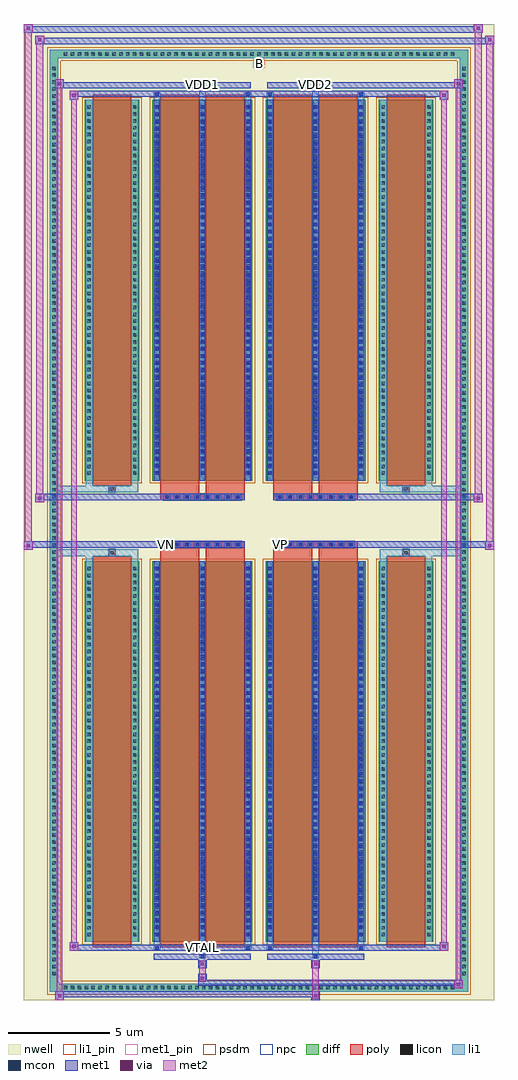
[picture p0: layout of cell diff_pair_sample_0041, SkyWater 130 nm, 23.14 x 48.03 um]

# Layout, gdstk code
import gdstk
lib = gdstk.Library(unit=1e-6, precision=5e-09)
def R(c, l, rs):  # rectangles x0, y0, x1, y1
    for r in rs: c.add(gdstk.rectangle(r[:2], r[2:], *l))
def A(c, l, x, y, w, h, nx, ny, dx, dy):  # array of equal rectangles
    R(c, l, [(x+i*dx, y+j*dy, x+i*dx+w, y+j*dy+h) for i in range(nx) for j in range(ny)])
def P(c, l, *ps):  # polygons
    for p in ps: c.add(gdstk.Polygon(p, *l))
nwell = (64, 20)
diff = (65, 20)
poly = (66, 20)
licon = (66, 44)
li1_pin = (67, 16)
li1 = (67, 20)
mcon = (67, 44)
met1_pin = (68, 16)
met1 = (68, 20)
via = (68, 44)
met2 = (69, 20)
psdm = (94, 20)
npc = (95, 20)

diff_pair_sample_0041 = lib.new_cell('diff_pair_sample_0041')
R(diff_pair_sample_0041, nwell, [(-11.57,-23.58,11.57,24.45), (-8.89,-21.77,-0.01,-0.805), (0.01,-21.77,8.89,-0.805), (-8.89,0.805,-0.01,21.77), (0.01,0.805,8.89,21.77)])
A(diff_pair_sample_0041, diff, -9.725, -23.18, 0.41, 0.41, 57, 2, 0.34, 45.95)
A(diff_pair_sample_0041, diff, -10.3, -22.475, 0.41, 0.41, 1, 132, 0, 0.34)
A(diff_pair_sample_0041, diff, 9.89, -22.475, 0.41, 0.41, 1, 132, 0, 0.34)
R(diff_pair_sample_0041, diff, [(-9.725,-23.18,9.725,-22.77), (-10.3,-22.475,-9.89,22.475), (9.89,-22.475,10.3,22.475), (-8.58,-20.725,-5.89,-1.985), (-5.25,-20.725,-0.32,-1.985), (0.32,-20.725,5.25,-1.985), (5.89,-20.725,8.58,-1.985), (-8.58,1.985,-5.89,20.725), (-5.25,1.985,-0.32,20.725), (0.32,1.985,5.25,20.725), (5.89,1.985,8.58,20.725), (-9.725,22.77,9.725,23.18)])
P(diff_pair_sample_0041, diff, [(10.3,23.18),(-10.3,23.18),(-10.3,-22.77),(-9.89,-22.77),(-9.89,22.77),(9.89,22.77),(9.89,-22.77),(-9.89,-22.77),(-10.3,-22.77),(-10.3,-23.18),(10.3,-23.18)])
A(diff_pair_sample_0041, poly, -4.7, -1.335, 0.33, 0.33, 8, 2, 0.5, 2.34)
A(diff_pair_sample_0041, poly, 0.87, -1.335, 0.33, 0.33, 8, 2, 0.5, 2.34)
R(diff_pair_sample_0041, poly, [(-8.19,-20.975,-6.28,-1.735), (-4.86,-20.975,-2.95,-1.735), (-2.62,-20.975,-0.71,-1.735), (0.71,-20.975,2.62,-1.735), (2.95,-20.975,4.86,-1.735), (6.28,-20.975,8.19,-1.735), (-7.4,-1.735,-7.07,-1.405), (-7.4,-1.735,-7.07,-1.405), (-4.86,-1.735,-2.95,-1.335), (-2.62,-1.735,-0.71,-1.335), (0.71,-1.735,2.62,-1.335), (2.95,-1.735,4.86,-1.335), (7.07,-1.735,7.4,-1.405), (7.07,-1.735,7.4,-1.405), (-4.86,-1.335,-0.71,-1.005), (0.71,-1.335,4.86,-1.005), (-4.86,1.005,-0.71,1.335), (0.71,1.005,4.86,1.335), (-4.86,1.335,-2.95,1.735), (-2.62,1.335,-0.71,1.735), (0.71,1.335,2.62,1.735), (2.95,1.335,4.86,1.735), (-7.4,1.405,-7.07,1.735), (-7.4,1.405,-7.07,1.735), (7.07,1.405,7.4,1.735), (7.07,1.405,7.4,1.735), (-8.19,1.735,-6.28,20.975), (-4.86,1.735,-2.95,20.975), (-2.62,1.735,-0.71,20.975), (0.71,1.735,2.62,20.975), (2.95,1.735,4.86,20.975), (6.28,1.735,8.19,20.975)])
A(diff_pair_sample_0041, licon, -9.605, -23.06, 0.17, 0.17, 57, 2, 0.34, 45.95)
A(diff_pair_sample_0041, licon, -10.18, -22.355, 0.17, 0.17, 1, 132, 0, 0.34)
A(diff_pair_sample_0041, licon, 10.01, -22.355, 0.17, 0.17, 1, 132, 0, 0.34)
A(diff_pair_sample_0041, licon, -8.44, -20.45, 0.17, 0.17, 1, 54, 0, 0.34)
A(diff_pair_sample_0041, licon, -6.2, -20.45, 0.17, 0.17, 1, 54, 0, 0.34)
A(diff_pair_sample_0041, licon, -5.11, -20.45, 0.17, 0.17, 3, 54, 2.24, 0.34)
A(diff_pair_sample_0041, licon, 0.46, -20.45, 0.17, 0.17, 3, 54, 2.24, 0.34)
A(diff_pair_sample_0041, licon, 6.03, -20.45, 0.17, 0.17, 1, 54, 0, 0.34)
A(diff_pair_sample_0041, licon, 8.27, -20.45, 0.17, 0.17, 1, 54, 0, 0.34)
A(diff_pair_sample_0041, licon, -4.62, -1.255, 0.17, 0.17, 8, 2, 0.5, 2.34)
A(diff_pair_sample_0041, licon, 0.95, -1.255, 0.17, 0.17, 8, 2, 0.5, 2.34)
A(diff_pair_sample_0041, licon, -8.44, 2.26, 0.17, 0.17, 1, 54, 0, 0.34)
A(diff_pair_sample_0041, licon, -6.2, 2.26, 0.17, 0.17, 1, 54, 0, 0.34)
A(diff_pair_sample_0041, licon, -5.11, 2.26, 0.17, 0.17, 3, 54, 2.24, 0.34)
A(diff_pair_sample_0041, licon, 0.46, 2.26, 0.17, 0.17, 3, 54, 2.24, 0.34)
A(diff_pair_sample_0041, licon, 6.03, 2.26, 0.17, 0.17, 1, 54, 0, 0.34)
A(diff_pair_sample_0041, licon, 8.27, 2.26, 0.17, 0.17, 1, 54, 0, 0.34)
R(diff_pair_sample_0041, licon, [(-7.32,-1.655,-7.15,-1.485), (7.15,-1.655,7.32,-1.485), (-7.32,1.485,-7.15,1.655), (7.15,1.485,7.32,1.655)])
R(diff_pair_sample_0041, li1_pin, [(-0.25,22.27,0.25,22.77)])
A(diff_pair_sample_0041, li1, -9.685, -23.14, 0.33, 0.33, 57, 2, 0.34, 45.95)
A(diff_pair_sample_0041, li1, -10.26, -22.435, 0.33, 0.33, 1, 132, 0, 0.34)
A(diff_pair_sample_0041, li1, 9.93, -22.435, 0.33, 0.33, 1, 132, 0, 0.34)
A(diff_pair_sample_0041, li1, -5.19, -20.725, 0.33, 18.74, 3, 2, 2.24, 22.71)
A(diff_pair_sample_0041, li1, 0.38, -20.725, 0.33, 18.74, 3, 2, 2.24, 22.71)
A(diff_pair_sample_0041, li1, -8.52, -20.53, 0.33, 0.33, 1, 54, 0, 0.34)
A(diff_pair_sample_0041, li1, -6.28, -20.53, 0.33, 0.33, 1, 54, 0, 0.34)
A(diff_pair_sample_0041, li1, -5.19, -20.53, 0.33, 0.33, 3, 54, 2.24, 0.34)
A(diff_pair_sample_0041, li1, 0.38, -20.53, 0.33, 0.33, 3, 54, 2.24, 0.34)
A(diff_pair_sample_0041, li1, 5.95, -20.53, 0.33, 0.33, 1, 54, 0, 0.34)
A(diff_pair_sample_0041, li1, 8.19, -20.53, 0.33, 0.33, 1, 54, 0, 0.34)
A(diff_pair_sample_0041, li1, -5.11, -20.44, 0.17, 0.17, 3, 51, 2.24, 0.36)
A(diff_pair_sample_0041, li1, -5.11, -20.44, 0.17, 18.17, 3, 2, 2.24, 22.71)
A(diff_pair_sample_0041, li1, 0.46, -20.44, 0.17, 0.17, 3, 51, 2.24, 0.36)
A(diff_pair_sample_0041, li1, 0.46, -20.44, 0.17, 18.17, 3, 2, 2.24, 22.71)
A(diff_pair_sample_0041, li1, -4.7, -1.335, 0.33, 0.33, 8, 2, 0.5, 2.34)
A(diff_pair_sample_0041, li1, 0.87, -1.335, 0.33, 0.33, 8, 2, 0.5, 2.34)
A(diff_pair_sample_0041, li1, -8.52, 2.18, 0.33, 0.33, 1, 54, 0, 0.34)
A(diff_pair_sample_0041, li1, -6.28, 2.18, 0.33, 0.33, 1, 54, 0, 0.34)
A(diff_pair_sample_0041, li1, -5.19, 2.18, 0.33, 0.33, 3, 54, 2.24, 0.34)
A(diff_pair_sample_0041, li1, 0.38, 2.18, 0.33, 0.33, 3, 54, 2.24, 0.34)
A(diff_pair_sample_0041, li1, 5.95, 2.18, 0.33, 0.33, 1, 54, 0, 0.34)
A(diff_pair_sample_0041, li1, 8.19, 2.18, 0.33, 0.33, 1, 54, 0, 0.34)
A(diff_pair_sample_0041, li1, -5.11, 2.27, 0.17, 0.17, 3, 51, 2.24, 0.36)
A(diff_pair_sample_0041, li1, 0.46, 2.27, 0.17, 0.17, 3, 51, 2.24, 0.36)
R(diff_pair_sample_0041, li1, [(-10.3,-23.18,-9.89,-22.77), (-10.3,-23.18,-9.89,-22.77), (-9.89,-23.18,9.89,-22.77), (9.89,-23.18,10.3,-22.77), (9.89,-23.18,10.3,-22.77), (-10.3,-22.77,-9.89,22.77), (9.89,-22.77,10.3,22.77), (-2.95,-21.53,-2.62,-20.725), (-2.87,-21.53,-2.7,-21.36), (2.62,-21.53,2.95,-20.725), (2.7,-21.53,2.87,-21.36), (-5.19,-21.1,-4.86,-20.725), (-5.11,-21.1,-4.94,-20.93), (-0.71,-21.1,-0.38,-20.725), (-0.63,-21.1,-0.46,-20.93), (0.38,-21.1,0.71,-20.725), (0.46,-21.1,0.63,-20.93), (4.86,-21.1,5.19,-20.725), (4.94,-21.1,5.11,-20.93), (-8.52,-20.725,-8.19,-1.985), (-6.28,-20.725,-5.95,-1.985), (5.95,-20.725,6.28,-1.985), (8.19,-20.725,8.52,-1.985), (-8.52,-1.985,-8.19,-1.405), (-6.28,-1.985,-5.95,-1.405), (5.95,-1.985,6.28,-1.405), (8.19,-1.985,8.52,-1.405), (-10.3,-1.735,-7.4,-1.405), (-8.52,-1.735,-7.4,-1.405), (-7.4,-1.735,-7.07,-1.405), (-7.07,-1.735,-5.95,-1.405), (5.95,-1.735,7.07,-1.405), (7.07,-1.735,7.4,-1.405), (7.07,-1.735,10.3,-1.405), (7.4,-1.735,8.52,-1.405), (-10.3,1.405,-7.4,1.735), (-8.52,1.405,-7.4,1.735), (-8.52,1.405,-8.19,1.985), (-7.4,1.405,-7.07,1.735), (-7.07,1.405,-5.95,1.735), (-6.28,1.405,-5.95,1.985), (5.95,1.405,7.07,1.735), (5.95,1.405,6.28,1.985), (7.07,1.405,7.4,1.735), (7.07,1.405,10.3,1.735), (7.4,1.405,8.52,1.735), (8.19,1.405,8.52,1.985), (-8.52,1.985,-8.19,20.725), (-6.28,1.985,-5.95,20.725), (5.95,1.985,6.28,20.725), (8.19,1.985,8.52,20.725), (-5.19,20.725,-4.86,21.1), (-2.95,20.725,-2.62,21.53), (-0.71,20.725,-0.38,21.1), (0.38,20.725,0.71,21.1), (2.62,20.725,2.95,21.53), (4.86,20.725,5.19,21.1), (-5.11,20.93,-4.94,21.1), (-0.63,20.93,-0.46,21.1), (0.46,20.93,0.63,21.1), (4.94,20.93,5.11,21.1), (-2.87,21.36,-2.7,21.53), (2.7,21.36,2.87,21.53), (-10.3,22.77,-9.89,23.18), (-10.3,22.77,-9.89,23.18), (-9.89,22.77,9.89,23.18), (9.89,22.77,10.3,23.18), (9.89,22.77,10.3,23.18)])
A(diff_pair_sample_0041, mcon, -5.11, -20.44, 0.17, 0.17, 3, 51, 2.24, 0.36)
A(diff_pair_sample_0041, mcon, 0.46, -20.44, 0.17, 0.17, 3, 51, 2.24, 0.36)
A(diff_pair_sample_0041, mcon, -4.62, -1.255, 0.17, 0.17, 8, 2, 0.5, 2.34)
A(diff_pair_sample_0041, mcon, 0.95, -1.255, 0.17, 0.17, 8, 2, 0.5, 2.34)
A(diff_pair_sample_0041, mcon, -5.11, 2.27, 0.17, 0.17, 3, 51, 2.24, 0.36)
A(diff_pair_sample_0041, mcon, 0.46, 2.27, 0.17, 0.17, 3, 51, 2.24, 0.36)
R(diff_pair_sample_0041, mcon, [(-2.87,-21.53,-2.7,-21.36), (2.7,-21.53,2.87,-21.36), (-5.11,-21.1,-4.94,-20.93), (-0.63,-21.1,-0.46,-20.93), (0.46,-21.1,0.63,-20.93), (4.94,-21.1,5.11,-20.93), (-5.11,20.93,-4.94,21.1), (-0.63,20.93,-0.46,21.1), (0.46,20.93,0.63,21.1), (4.94,20.93,5.11,21.1), (-2.87,21.36,-2.7,21.53), (2.7,21.36,2.87,21.53)])
R(diff_pair_sample_0041, met1_pin, [(-2.92,-21.14,-2.65,-20.87), (-4.67,-1.295,-4.4,-1.025), (0.9,-1.295,1.17,-1.025), (-2.92,21.32,-2.65,21.59), (2.65,21.32,2.92,21.59)])
A(diff_pair_sample_0041, met1, -5.17, -20.725, 0.29, 18.74, 3, 2, 2.24, 22.71)
A(diff_pair_sample_0041, met1, 0.4, -20.725, 0.29, 18.74, 3, 2, 2.24, 22.71)
A(diff_pair_sample_0041, met1, -5.17, -20.5, 0.29, 0.29, 3, 51, 2.24, 0.36)
A(diff_pair_sample_0041, met1, 0.4, -20.5, 0.29, 0.29, 3, 51, 2.24, 0.36)
A(diff_pair_sample_0041, met1, -4.68, -1.315, 0.29, 0.29, 8, 2, 0.5, 2.34)
A(diff_pair_sample_0041, met1, 0.89, -1.315, 0.29, 0.29, 8, 2, 0.5, 2.34)
A(diff_pair_sample_0041, met1, -5.17, 2.21, 0.29, 0.29, 3, 51, 2.24, 0.36)
A(diff_pair_sample_0041, met1, 0.4, 2.21, 0.29, 0.29, 3, 51, 2.24, 0.36)
R(diff_pair_sample_0041, met1, [(-10.03,-23.58,-9.6,-23.15), (2.57,-23.58,3,-23.15), (-10.03,-23.44,3,-23.15), (9.6,-23.01,10.03,-22.58), (-3,-22.87,10.03,-22.58), (-3,-22.73,-2.57,-22.3), (-3,-22.02,-2.57,-21.59), (2.57,-22.02,3,-21.59), (-5.17,-21.59,-0.4,-21.3), (-2.93,-21.59,-2.64,-21.3), (0.4,-21.59,5.17,-21.3), (2.64,-21.59,2.93,-21.3), (-9.32,-21.16,-8.89,-20.73), (-9.32,-21.16,-5.17,-20.87), (-5.17,-21.16,-4.88,-20.87), (-5.17,-21.16,-0.4,-20.87), (-0.69,-21.16,-0.4,-20.87), (-0.4,-21.16,0.4,-20.87), (0.4,-21.16,0.69,-20.87), (0.4,-21.16,5.17,-20.87), (4.88,-21.16,5.17,-20.87), (5.17,-21.16,9.32,-20.87), (8.89,-21.16,9.32,-20.73), (-11.57,-1.435,-11.14,-1.005), (11.14,-1.435,11.57,-1.005), (-11.57,-1.335,-0.71,-1.005), (-4.86,-1.335,-0.71,-1.005), (0.71,-1.335,4.86,-1.005), (0.71,-1.335,11.57,-1.005), (-11,0.905,-10.57,1.335), (10.57,0.905,11,1.335), (-11,1.005,-4.86,1.335), (-4.86,1.005,-0.71,1.335), (0.71,1.005,4.86,1.335), (4.86,1.005,11,1.335), (-9.32,20.73,-8.89,21.16), (8.89,20.73,9.32,21.16), (-9.32,20.87,-5.17,21.16), (-5.17,20.87,-4.88,21.16), (-5.17,20.87,-0.4,21.16), (-0.69,20.87,-0.4,21.16), (-0.4,20.87,0.4,21.16), (0.4,20.87,0.69,21.16), (0.4,20.87,5.17,21.16), (4.88,20.87,5.17,21.16), (5.17,20.87,9.32,21.16), (-10.03,21.3,-9.6,21.73), (-10.03,21.3,-5.17,21.59), (-5.17,21.3,-0.4,21.59), (-2.93,21.3,-2.64,21.59), (0.4,21.3,5.17,21.59), (2.64,21.3,2.93,21.59), (5.17,21.3,10.03,21.59), (9.6,21.3,10.03,21.73), (-11,23.45,-10.57,23.88), (-11,23.45,-8.89,23.78), (-8.89,23.45,8.89,23.78), (8.89,23.45,11.57,23.78), (11.14,23.45,11.57,23.88), (-11.57,24.02,-11.14,24.45), (-11.57,24.02,-8.89,24.35), (-8.89,24.02,8.89,24.35), (8.89,24.02,11,24.35), (10.57,24.02,11,24.45)])
R(diff_pair_sample_0041, via, [(-9.89,-23.44,-9.74,-23.29), (2.71,-23.44,2.86,-23.29), (9.74,-22.87,9.89,-22.72), (-2.86,-22.59,-2.71,-22.44), (-2.86,-21.88,-2.71,-21.73), (2.71,-21.88,2.86,-21.73), (-9.18,-21.02,-9.03,-20.87), (9.03,-21.02,9.18,-20.87), (-11.43,-1.295,-11.28,-1.145), (11.28,-1.295,11.43,-1.145), (-10.86,1.045,-10.71,1.195), (10.71,1.045,10.86,1.195), (-9.18,20.87,-9.03,21.02), (9.03,20.87,9.18,21.02), (-9.89,21.44,-9.74,21.59), (9.74,21.44,9.89,21.59), (-10.86,23.59,-10.71,23.74), (11.28,23.59,11.43,23.74), (-11.43,24.16,-11.28,24.31), (10.71,24.16,10.86,24.31)])
R(diff_pair_sample_0041, met2, [(-10.03,-23.58,-9.6,-23.15), (-9.96,-23.58,-9.67,21.73), (-9.67,-23.58,-9.6,-23.15), (-9.98,-23.53,-9.65,-23.2), (2.62,-23.53,2.95,-23.2), (2.62,-23.2,2.95,-21.97), (9.6,-23.01,10.03,-22.58), (9.67,-23.01,9.96,21.73), (9.96,-23.01,10.03,-22.58), (9.65,-22.96,9.98,-22.63), (-2.95,-22.68,-2.62,-22.35), (-2.95,-22.35,-2.62,-21.97), (-2.95,-21.97,-2.62,-21.64), (2.62,-21.97,2.95,-21.64), (-9.32,-21.16,-8.89,-20.73), (-9.25,-21.16,-8.96,21.16), (-8.96,-21.16,-8.89,-20.73), (8.89,-21.16,9.32,-20.73), (8.96,-21.16,9.25,21.16), (9.25,-21.16,9.32,-20.73), (-9.27,-21.11,-8.94,-20.78), (8.94,-21.11,9.27,-20.78), (-11.57,-1.435,-11.14,-1.005), (-11.52,-1.435,-11.19,24.45), (-11.19,-1.435,-11.14,-1.005), (11.14,-1.435,11.57,-1.005), (11.19,-1.435,11.52,23.88), (11.52,-1.435,11.57,-1.005), (-11.52,-1.385,-11.19,-1.055), (11.19,-1.385,11.52,-1.055), (-11,0.905,-10.57,1.335), (-10.95,0.905,-10.62,23.88), (-10.62,0.905,-10.57,1.335), (10.57,0.905,11,1.335), (10.62,0.905,10.95,24.45), (10.95,0.905,11,1.335), (-10.95,0.955,-10.62,1.285), (10.62,0.955,10.95,1.285), (-9.32,20.73,-8.89,21.16), (-8.96,20.73,-8.89,21.16), (8.89,20.73,9.32,21.16), (9.25,20.73,9.32,21.16), (-9.27,20.78,-8.94,21.11), (8.94,20.78,9.27,21.11), (-10.03,21.3,-9.6,21.73), (-9.67,21.3,-9.6,21.73), (9.6,21.3,10.03,21.73), (9.96,21.3,10.03,21.73), (-9.98,21.35,-9.65,21.68), (9.65,21.35,9.98,21.68), (-11,23.45,-10.57,23.88), (-10.62,23.45,-10.57,23.88), (11.14,23.45,11.57,23.88), (11.52,23.45,11.57,23.88), (-10.95,23.5,-10.62,23.83), (11.19,23.5,11.52,23.83), (-11.57,24.02,-11.14,24.45), (-11.19,24.02,-11.14,24.45), (10.57,24.02,11,24.45), (10.95,24.02,11,24.45), (-11.52,24.07,-11.19,24.4), (10.62,24.07,10.95,24.4)])
R(diff_pair_sample_0041, psdm, [(-8.71,-20.855,-5.76,-1.855), (-5.38,-20.855,-0.19,-1.855), (0.19,-20.855,5.38,-1.855), (5.76,-20.855,8.71,-1.855), (-8.71,1.855,-5.76,20.855), (-5.38,1.855,-0.19,20.855), (0.19,1.855,5.38,20.855), (5.76,1.855,8.71,20.855)])
P(diff_pair_sample_0041, psdm, [(10.43,23.31),(-10.43,23.31),(-10.43,-22.64),(-9.76,-22.64),(-9.76,22.64),(9.76,22.64),(9.76,-22.64),(-9.76,-22.64),(-10.43,-22.64),(-10.43,-23.31),(10.43,-23.31)])
A(diff_pair_sample_0041, npc, -4.72, -1.355, 0.37, 0.37, 8, 2, 0.5, 2.34)
A(diff_pair_sample_0041, npc, 0.85, -1.355, 0.37, 0.37, 8, 2, 0.5, 2.34)
R(diff_pair_sample_0041, npc, [(-7.42,-1.755,-7.05,-1.385), (7.05,-1.755,7.42,-1.385), (-4.72,-1.355,-3.85,-0.985), (-4.72,-1.355,-3.85,-0.985), (-4.22,-1.355,-3.35,-0.985), (-4.22,-1.355,-3.35,-0.985), (-3.72,-1.355,-2.85,-0.985), (-3.72,-1.355,-2.85,-0.985), (-3.22,-1.355,-2.35,-0.985), (-3.22,-1.355,-2.35,-0.985), (-2.72,-1.355,-1.85,-0.985), (-2.72,-1.355,-1.85,-0.985), (-2.22,-1.355,-1.35,-0.985), (-2.22,-1.355,-1.35,-0.985), (-1.72,-1.355,-0.85,-0.985), (-1.72,-1.355,-0.85,-0.985), (0.85,-1.355,1.72,-0.985), (0.85,-1.355,1.72,-0.985), (1.35,-1.355,2.22,-0.985), (1.35,-1.355,2.22,-0.985), (1.85,-1.355,2.72,-0.985), (1.85,-1.355,2.72,-0.985), (2.35,-1.355,3.22,-0.985), (2.35,-1.355,3.22,-0.985), (2.85,-1.355,3.72,-0.985), (2.85,-1.355,3.72,-0.985), (3.35,-1.355,4.22,-0.985), (3.35,-1.355,4.22,-0.985), (3.85,-1.355,4.72,-0.985), (3.85,-1.355,4.72,-0.985), (-4.72,0.985,-3.85,1.355), (-4.72,0.985,-3.85,1.355), (-4.22,0.985,-3.35,1.355), (-4.22,0.985,-3.35,1.355), (-3.72,0.985,-2.85,1.355), (-3.72,0.985,-2.85,1.355), (-3.22,0.985,-2.35,1.355), (-3.22,0.985,-2.35,1.355), (-2.72,0.985,-1.85,1.355), (-2.72,0.985,-1.85,1.355), (-2.22,0.985,-1.35,1.355), (-2.22,0.985,-1.35,1.355), (-1.72,0.985,-0.85,1.355), (-1.72,0.985,-0.85,1.355), (0.85,0.985,1.72,1.355), (0.85,0.985,1.72,1.355), (1.35,0.985,2.22,1.355), (1.35,0.985,2.22,1.355), (1.85,0.985,2.72,1.355), (1.85,0.985,2.72,1.355), (2.35,0.985,3.22,1.355), (2.35,0.985,3.22,1.355), (2.85,0.985,3.72,1.355), (2.85,0.985,3.72,1.355), (3.35,0.985,4.22,1.355), (3.35,0.985,4.22,1.355), (3.85,0.985,4.72,1.355), (3.85,0.985,4.72,1.355), (-7.42,1.385,-7.05,1.755), (7.05,1.385,7.42,1.755)])
diff_pair_sample_0041.add(gdstk.Label('VTAIL', (-2.785,-21.005), layer=68, texttype=5))
diff_pair_sample_0041.add(gdstk.Label('VN', (-4.535,-1.16), layer=68, texttype=5))
diff_pair_sample_0041.add(gdstk.Label('VP', (1.035,-1.16), layer=68, texttype=5))
diff_pair_sample_0041.add(gdstk.Label('B', (0,22.52), layer=67, texttype=5))
diff_pair_sample_0041.add(gdstk.Label('VDD2', (2.785,21.455), layer=68, texttype=5))
diff_pair_sample_0041.add(gdstk.Label('VDD1', (-2.785,21.455), layer=68, texttype=5))

lib.write_gds('diff_pair_sample_0041.gds')
